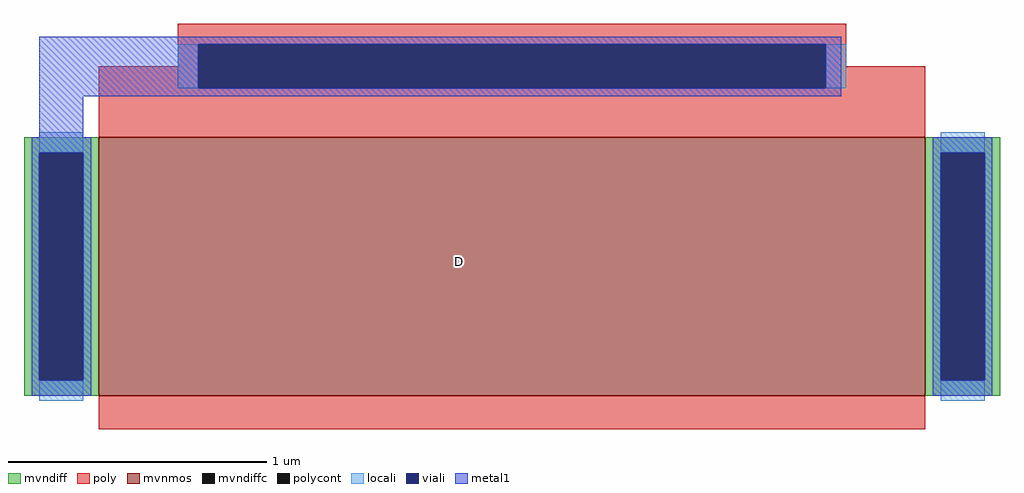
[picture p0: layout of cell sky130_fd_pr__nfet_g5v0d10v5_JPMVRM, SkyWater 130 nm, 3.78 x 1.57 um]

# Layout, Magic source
magic
tech sky130A
magscale 1 2
<< mvnmos >>
rect -320 -131 320 69
<< mvndiff >>
rect -378 57 -320 69
rect -378 -119 -366 57
rect -332 -119 -320 57
rect -378 -131 -320 -119
rect 320 57 378 69
rect 320 -119 332 57
rect 366 -119 378 57
rect 320 -131 378 -119
<< mvndiffc >>
rect -366 -119 -332 57
rect 332 -119 366 57
<< poly >>
rect -259 141 259 157
rect -259 124 -243 141
rect -320 107 -243 124
rect 243 124 259 141
rect 243 107 320 124
rect -320 69 320 107
rect -320 -157 320 -131
<< polycont >>
rect -243 107 243 141
<< locali >>
rect -259 107 -243 141
rect 243 107 259 141
rect -366 57 -332 73
rect -366 -135 -332 -119
rect 332 57 366 73
rect 332 -135 366 -119
<< viali >>
rect -243 107 243 141
rect -366 -119 -332 57
rect 332 -119 366 57
<< metal1 >>
rect -366 141 255 147
rect -366 107 -243 141
rect 243 107 255 141
rect -366 101 255 107
rect -366 69 -332 101
rect -372 57 -326 69
rect -372 -119 -366 57
rect -332 -119 -326 57
rect -372 -131 -326 -119
rect 326 57 372 69
rect 326 -119 332 57
rect 366 -119 372 57
rect 326 -131 372 -119
<< labels >>
flabel mvnmos -96 -65 14 11 0 FreeSans 1600 0 0 0 D
flabel mvnmos -88 -67 22 9 0 FreeSans 1600 0 0 0 D
<< properties >>
string gencell sky130_fd_pr__nfet_g5v0d10v5
string library sky130
string parameters w 1 l 3.2 m 1 nf 1 diffcov 100 polycov 80 guard 0 glc 1 grc 1 gtc 1 gbc 1 tbcov 100 rlcov 100 topc 1 botc 0 poverlap 0 doverlap 1 lmin 0.50 wmin 0.42 class mosfet compatible {sky130_fd_pr__nfet_01v8 sky130_fd_pr__nfet_01v8_lvt  sky130_fd_bs_flash__special_sonosfet_star  sky130_fd_pr__nfet_g5v0d10v5 sky130_fd_pr__nfet_05v0_nvt  sky130_fd_pr__nfet_03v3_nvt} full_metal 1 viasrc 100 viadrn 100 viagate 80 viagb 0 viagr 0 viagl 0 viagt 0
<< end >>
